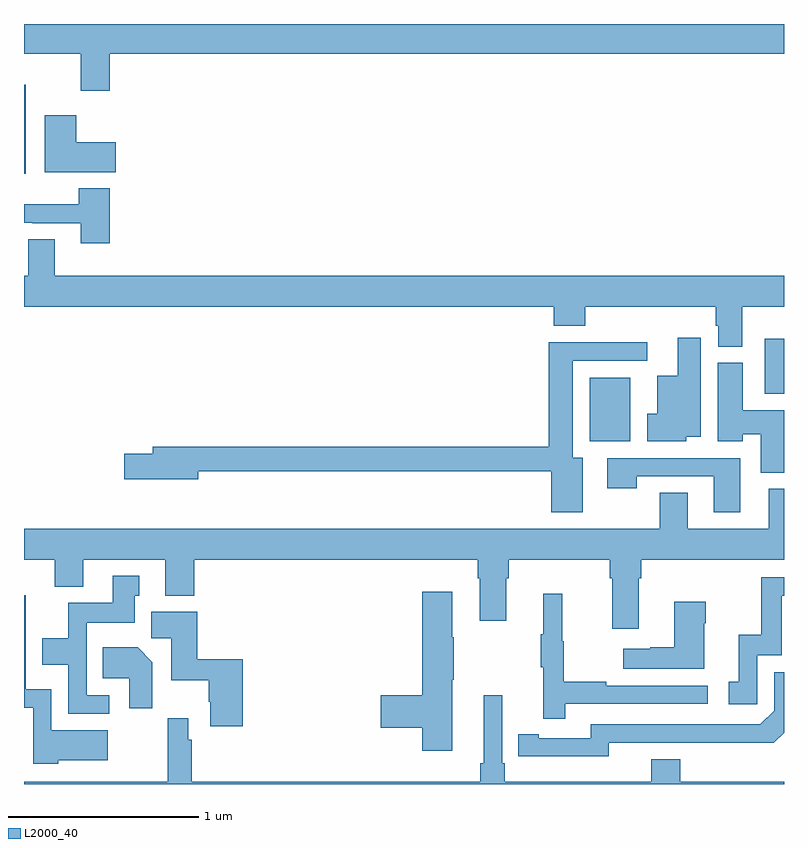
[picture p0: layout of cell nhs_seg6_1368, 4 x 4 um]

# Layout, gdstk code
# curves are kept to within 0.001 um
import gdstk
lib = gdstk.Library(unit=1e-6, precision=1e-09)
def R(c, l, rs):  # rectangles x0, y0, x1, y1
    for r in rs: c.add(gdstk.rectangle(r[:2], r[2:], *l))
def P(c, l, *ps):  # polygons
    for p in ps: c.add(gdstk.Polygon(p, *l))
L2000_40 = (2000, 40)

nhs_seg6_1368 = lib.new_cell('nhs_seg6_1368')
R(nhs_seg6_1368, L2000_40, [(197.978,937.304,198.19,937.639), (198.899,937.553,199,937.843), (195,938.712,195.01,939.181)])
P(nhs_seg6_1368, L2000_40, [(195.452,939.344),(199,939.344),(199,939.5),(195,939.5),(195,939.344),(195.299,939.344),(195.299,939.15),(195.452,939.15)],
  [(195.484,938.878),(195.274,938.878),(195.274,939.019),(195.11,939.019),(195.11,938.72),(195.484,938.72)],
  [(195.452,938.635),(195.287,938.635),(195.287,938.551),(195,938.551),(195,938.454),(195.043,938.454),(195.043,938.451),(195.299,938.451),(195.299,938.346),(195.452,938.346)],
  [(198.781,938.012),(199,938.012),(199,938.176),(195.163,938.176),(195.163,938.366),(195.023,938.366),(195.023,938.176),(195,938.176),(195,938.012),(197.789,938.012),(197.789,937.913),(197.954,937.913),(197.954,938.012),(198.641,938.012),(198.641,937.911),(198.653,937.911),(198.653,937.801),(198.781,937.801)],
  [(198.486,937.328),(198.562,937.328),(198.562,937.849),(198.44,937.849),(198.44,937.648),(198.332,937.648),(198.332,937.45),(198.281,937.45),(198.281,937.304),(198.486,937.304)],
  [(197.941,937.216),(197.887,937.216),(197.887,937.728),(198.28,937.728),(198.28,937.826),(197.762,937.826),(197.762,937.274),(195.677,937.274),(195.677,937.238),(195.528,937.238),(195.528,937.103),(195.916,937.103),(195.916,937.146),(197.774,937.146),(197.774,936.93),(197.941,936.93)],
  [(199,937.468),(198.784,937.468),(198.784,937.716),(198.65,937.716),(198.65,937.304),(198.784,937.304),(198.784,937.341),(198.878,937.341),(198.878,937.139),(199,937.139)],
  [(198.769,937.215),(198.069,937.215),(198.069,937.056),(198.225,937.056),(198.225,937.119),(198.629,937.119),(198.629,936.93),(198.769,936.93)],
  [(195,936.68),(195.161,936.68),(195.161,936.539),(195.313,936.539),(195.313,936.68),(195.743,936.68),(195.743,936.491),(195.896,936.491),(195.896,936.68),(197.387,936.68),(197.387,936.584),(197.399,936.584),(197.399,936.36),(197.539,936.36),(197.539,936.584),(197.552,936.584),(197.552,936.68),(198.083,936.68),(198.083,936.584),(198.095,936.584),(198.095,936.318),(198.235,936.318),(198.235,936.584),(198.248,936.584),(198.248,936.68),(199,936.68),(199,937.054),(198.92,937.054),(198.92,936.844),(198.493,936.844),(198.493,937.034),(198.346,937.034),(198.346,936.844),(195,936.844)],
  [(195.448,935.967),(195.33,935.967),(195.33,936.35),(195.583,936.35),(195.583,936.492),(195.607,936.492),(195.607,936.595),(195.467,936.595),(195.467,936.454),(195.232,936.454),(195.232,936.268),(195.095,936.268),(195.095,936.128),(195.234,936.128),(195.234,935.871),(195.448,935.871)],
  [(198.858,936.177),(198.987,936.177),(198.987,936.492),(199,936.492),(199,936.588),(198.879,936.588),(198.879,936.286),(198.761,936.286),(198.761,936.039),(198.708,936.039),(198.708,935.919),(198.858,935.919)],
  [(197.254,936.049),(197.262,936.049),(197.262,936.272),(197.254,936.272),(197.254,936.511),(197.096,936.511),(197.096,935.966),(196.878,935.966),(196.878,935.795),(197.096,935.795),(197.096,935.676),(197.254,935.676)],
  [(197.849,935.922),(198.598,935.922),(198.598,936.018),(198.065,936.018),(198.065,936.038),(197.842,936.038),(197.842,936.252),(197.834,936.252),(197.834,936.502),(197.732,936.502),(197.732,936.289),(197.721,936.289),(197.721,936.115),(197.732,936.115),(197.732,935.844),(197.849,935.844)],
  [(195.18,935.624),(195.442,935.624),(195.442,935.782),(195.144,935.782),(195.144,935.998),(195.01,935.998),(195.01,936.493),(195,936.493),(195,935.901),(195.048,935.901),(195.048,935.606),(195.18,935.606)],
  [(198.58,936.347),(198.588,936.347),(198.588,936.46),(198.422,936.46),(198.422,936.221),(198.296,936.221),(198.296,936.211),(198.153,936.211),(198.153,936.107),(198.58,936.107)],
  [(196.151,936.157),(195.911,936.157),(195.911,936.406),(195.671,936.406),(195.671,936.268),(195.776,936.268),(195.776,936.047),(195.973,936.047),(195.973,935.932),(195.98,935.932),(195.98,935.805),(196.151,935.805)],
  [(195.676,936.142),(195.598,936.22),(195.415,936.22),(195.415,936.056),(195.554,936.056),(195.554,935.898),(195.676,935.898)],
  [(198.078,935.718),(198.946,935.717),(199,935.77),(199,936.087),(198.948,936.087),(198.948,935.886),(198.876,935.814),(197.982,935.814),(197.982,935.742),(197.71,935.742),(197.71,935.762),(197.602,935.762),(197.602,935.646),(198.078,935.645)],
  [(195.884,935.732),(195.864,935.732),(195.864,935.845),(195.756,935.845),(195.756,935.512),(195,935.512),(195,935.5),(199,935.5),(199,935.512),(198.455,935.512),(198.455,935.629),(198.302,935.629),(198.302,935.512),(197.531,935.512),(197.531,935.608),(197.517,935.608),(197.517,935.968),(197.42,935.968),(197.42,935.608),(197.401,935.608),(197.401,935.512),(195.884,935.512)])

lib.write_gds('nhs_seg6_1368.gds')
